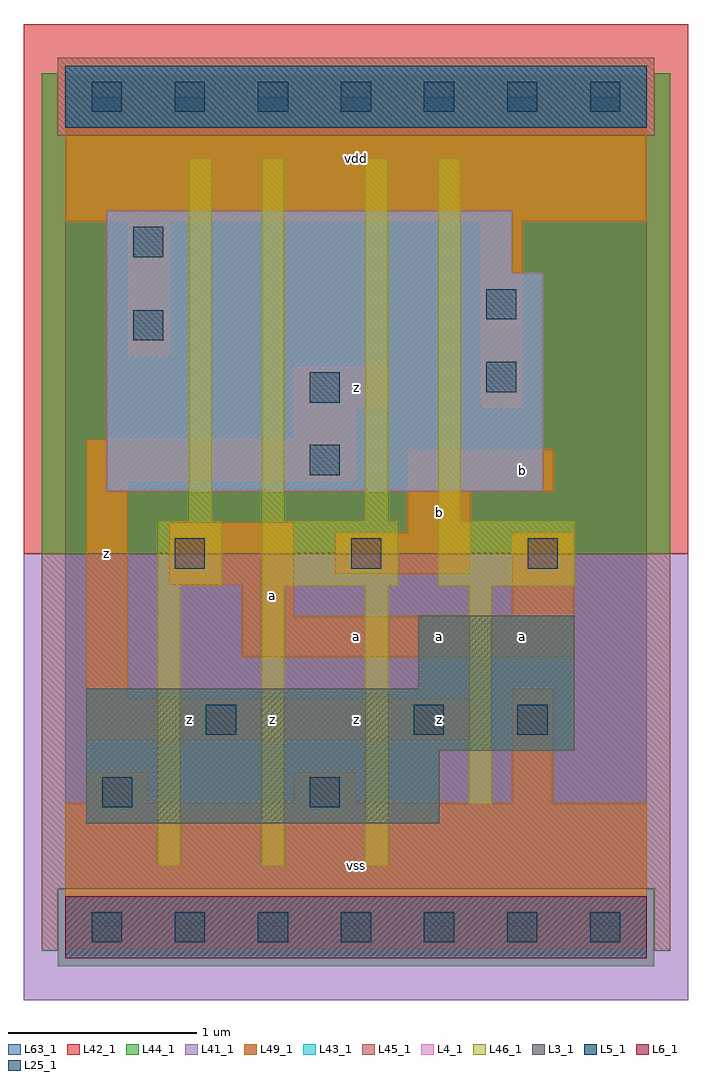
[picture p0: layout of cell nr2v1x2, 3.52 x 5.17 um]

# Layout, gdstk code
import gdstk
lib = gdstk.Library(unit=1e-6, precision=1e-09)
def R(c, l, rs):  # rectangles x0, y0, x1, y1
    for r in rs: c.add(gdstk.rectangle(r[:2], r[2:], *l))
def A(c, l, x, y, w, h, nx, ny, dx, dy):  # array of equal rectangles
    R(c, l, [(x+i*dx, y+j*dy, x+i*dx+w, y+j*dy+h) for i in range(nx) for j in range(ny)])
L3_1 = (3, 1)
L4_1 = (4, 1)
L5_1 = (5, 1)
L6_1 = (6, 1)
L25_1 = (25, 1)
L41_1 = (41, 1)
L42_1 = (42, 1)
L43_1 = (43, 1)
L44_1 = (44, 1)
L45_1 = (45, 1)
L46_1 = (46, 1)
L49_1 = (49, 1)
L63_1 = (63, 1)

nr2v1x2 = lib.new_cell('nr2v1x2')
R(nr2v1x2, L3_1, [(0.11,0.55,1.98,0.935), (0.11,0.935,2.695,1.265), (1.87,1.265,2.695,1.65)])
R(nr2v1x2, L4_1, [(0.22,2.31,2.53,3.465), (0.22,3.465,2.365,3.795)])
R(nr2v1x2, L5_1, [(0,4.235,3.08,4.565)])
R(nr2v1x2, L6_1, [(0,-0.165,3.08,0.165)])
A(nr2v1x2, L25_1, 0.14, -0.08, 0.16, 0.16, 7, 2, 0.44, 4.4)
A(nr2v1x2, L25_1, 0.58, 1.9, 0.16, 0.16, 3, 1, 0.935, 0)
R(nr2v1x2, L25_1, [(0.195,0.635,0.355,0.795), (1.295,0.635,1.455,0.795), (0.745,1.02,0.905,1.18), (1.845,1.02,2.005,1.18), (2.395,1.02,2.555,1.18), (1.295,2.395,1.455,2.555), (1.295,2.78,1.455,2.94), (2.23,2.835,2.39,2.995), (0.36,3.11,0.52,3.27), (2.23,3.22,2.39,3.38), (0.36,3.55,0.52,3.71)])
R(nr2v1x2, L41_1, [(-0.22,-0.385,3.3,1.98)])
R(nr2v1x2, L42_1, [(-0.22,1.98,3.3,4.785)])
R(nr2v1x2, L43_1, [(0,-0.165,3.08,0.165), (0.11,0.55,1.98,0.935), (0.11,0.935,2.695,1.265), (1.87,1.265,2.695,1.65), (0.22,2.31,2.53,3.465), (0.22,3.465,2.365,3.795), (0,4.235,3.08,4.565)])
R(nr2v1x2, L44_1, [(-0.04,-0.205,3.12,0.205), (-0.125,1.98,3.205,4.195), (-0.125,4.195,-0.04,4.525), (3.12,4.195,3.205,4.525)])
R(nr2v1x2, L45_1, [(-0.125,-0.125,-0.04,0.205), (3.12,-0.125,3.205,0.205), (-0.125,0.205,3.205,1.98), (-0.04,4.195,3.12,4.605)])
A(nr2v1x2, L46_1, 0.49, 0.325, 0.12, 1.485, 3, 1, 0.55, 0)
R(nr2v1x2, L46_1, [(2.14,0.655,2.26,1.81), (0.49,1.81,0.83,2.15), (1.04,1.81,1.765,2.15), (1.975,1.81,2.7,2.15), (0.655,2.15,0.775,4.075), (1.04,2.15,1.16,4.075), (1.59,2.15,1.71,4.075), (1.975,2.15,2.095,4.075)])
R(nr2v1x2, L49_1, [(0,-0.11,3.08,0.66), (0.11,0.66,0.44,0.825), (1.21,0.66,1.54,0.825), (2.365,0.66,2.585,1.265), (0.11,0.99,2.145,1.21), (0.11,1.21,0.33,2.365), (0.935,1.43,2.695,1.65), (0.935,1.65,1.21,1.815), (2.365,1.65,2.695,2.09), (0.55,1.815,1.21,2.145), (1.43,1.87,2.145,2.09), (1.815,2.09,2.145,2.31), (1.815,2.31,2.585,2.53), (0.11,2.365,1.54,2.585), (1.21,2.585,1.54,2.75), (1.21,2.75,1.705,2.97), (2.2,2.75,2.42,3.74), (0.33,3.025,0.55,3.74), (0,3.74,3.08,4.51)])
R(nr2v1x2, L63_1, [(0,0,3.08,4.4)])
nr2v1x2.add(gdstk.Label('z', (0.22,1.98), layer=49, texttype=1))
nr2v1x2.add(gdstk.Label('z', (0.66,1.1), layer=49, texttype=1))
nr2v1x2.add(gdstk.Label('vss', (1.54,0.33), layer=49, texttype=1))
nr2v1x2.add(gdstk.Label('z', (1.1,1.1), layer=49, texttype=1))
nr2v1x2.add(gdstk.Label('a', (1.54,1.54), layer=49, texttype=1))
nr2v1x2.add(gdstk.Label('z', (1.54,1.1), layer=49, texttype=1))
nr2v1x2.add(gdstk.Label('a', (1.1,1.76), layer=49, texttype=1))
nr2v1x2.add(gdstk.Label('z', (1.54,2.86), layer=49, texttype=1))
nr2v1x2.add(gdstk.Label('vdd', (1.54,4.07), layer=49, texttype=1))
nr2v1x2.add(gdstk.Label('z', (1.98,1.1), layer=49, texttype=1))
nr2v1x2.add(gdstk.Label('a', (1.98,1.54), layer=49, texttype=1))
nr2v1x2.add(gdstk.Label('a', (2.42,1.54), layer=49, texttype=1))
nr2v1x2.add(gdstk.Label('b', (1.98,2.2), layer=49, texttype=1))
nr2v1x2.add(gdstk.Label('b', (2.42,2.42), layer=49, texttype=1))

lib.write_gds('nr2v1x2.gds')
